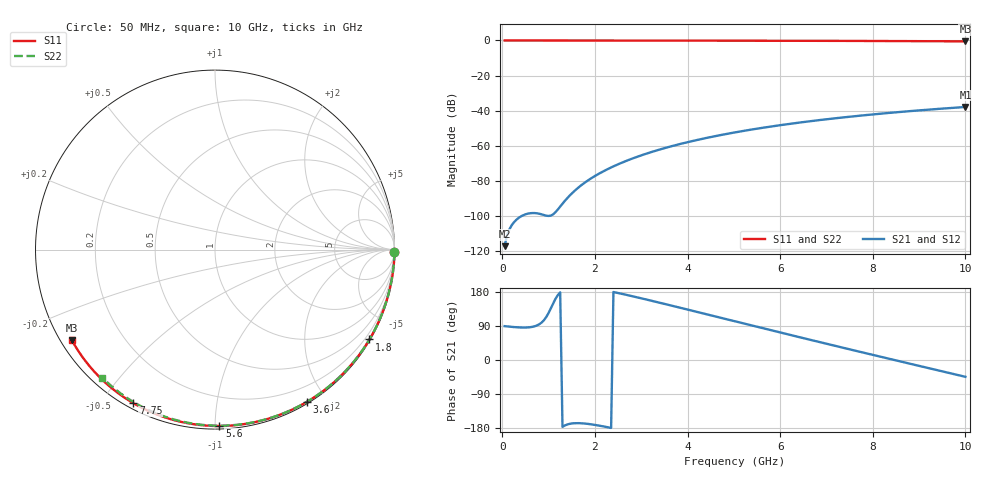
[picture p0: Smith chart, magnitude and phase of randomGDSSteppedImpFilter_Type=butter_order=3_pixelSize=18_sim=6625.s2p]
! freq	dB(S11)	phase(S11)	dB(S12)	phase(S12)
!  dB(S21)	phase(S21)	dB(S22)	phase(S22)
!S-par simulation data
#  GHz  S  DB  R 50
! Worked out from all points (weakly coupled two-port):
!   200 points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, 50 MHz to 10 GHz, reference 50 ohm
!   highest |S21| = -37.85 dB at 10 GHz (marker M1); lowest = -117.0 dB at 50 MHz (marker M2)
!   lowest |S11| = -0.5 dB at 10 GHz (marker M3), VSWR 34.57, Z = 1.57 - j14.4 ohm
!   |S11| at or under -10 dB: nowhere
!   |S22| runs from -0.4 to 0.0 dB; largest |S21 - S12| = 0
!   S11 on the Smith chart (normalised r, x): 50 MHz: open; 1.8 GHz: 0.03, -3.71; 3.6 GHz: 0.02, -1.77; 5.6 GHz: 0.02, -1.03; 7.75 GHz: 0.02, -0.60; 10 GHz: 0.03, -0.29
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0.05  -0.00 -0.9  -117.02 89.3  -117.02 89.3  -0.00 -0.8
0.45  -0.01 -7.7  -99.44 85.6  -99.44 85.6  -0.01 -6.8
0.9  -0.02 -15.3  -99.31 105.1  -99.31 105.1  -0.02 -13.6
1.75  -0.04 -29.4  -81.47 -167.4  -81.47 -167.4  -0.03 -26.2
1.8  -0.04 -30.2  -80.52 -167.9  -80.52 -167.9  -0.03 -26.9
1.85  -0.04 -31.0  -79.61 -168.6  -79.61 -168.6  -0.04 -27.7
2.05  -0.04 -34.3  -76.34 -172.3  -76.34 -172.3  -0.04 -30.6
2.2  -0.05 -36.7  -74.19 -175.6  -74.19 -175.6  -0.04 -32.8
2.55  -0.05 -42.4  -69.88 175.5  -69.88 175.5  -0.05 -37.8
2.95  -0.06 -48.8  -65.82 164.3  -65.82 164.3  -0.06 -43.5
3.4  -0.07 -55.8  -62.03 151.1  -62.03 151.1  -0.07 -49.9
3.6  -0.08 -58.9  -60.55 145.2  -60.55 145.2  -0.07 -52.7
4.3  -0.10 -69.6  -56.06 124.1  -56.06 124.1  -0.09 -62.2
5.05  -0.12 -80.6  -52.17 101.4  -52.17 101.4  -0.11 -72.2
5.6  -0.15 -88.5  -49.76 84.7  -49.76 84.7  -0.13 -79.3
6.15  -0.17 -96.3  -47.65 68.2  -47.65 68.2  -0.15 -86.2
6.7  -0.20 -103.9  -45.77 51.8  -45.77 51.8  -0.18 -93.0
7.2  -0.23 -110.6  -44.24 37.0  -44.24 37.0  -0.21 -99.1
7.75  -0.27 -118.0  -42.71 20.8  -42.71 20.8  -0.24 -105.6
8.35  -0.32 -126.0  -41.22 3.3  -41.22 3.3  -0.29 -112.6
9.2  -0.41 -137.2  -39.36 -21.3  -39.36 -21.3  -0.36 -122.3
10  -0.50 -147.8  -37.85 -44.4  -37.85 -44.4  -0.45 -131.4
